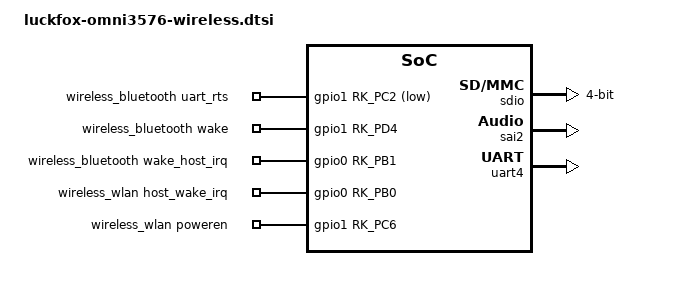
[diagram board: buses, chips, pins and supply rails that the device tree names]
// SPDX-License-Identifier: (GPL-2.0+ OR MIT)
/*
 * Copyright (c) 2024 Luckfox Technology Co., Ltd.
 *
 */
/ {
	wireless_bluetooth: wireless-bluetooth {
		compatible = "bluetooth-platdata";
		uart_rts_gpios = <&gpio1 RK_PC2 GPIO_ACTIVE_LOW>;
		pinctrl-names = "default", "rts_gpio";
		pinctrl-0 = <&uart4m1_rtsn>;
		pinctrl-1 = <&uart4_gpios>;
		BT,wake_gpio     = <&gpio1 RK_PD4 GPIO_ACTIVE_HIGH>;
		BT,wake_host_irq = <&gpio0 RK_PB1 GPIO_ACTIVE_HIGH>;
		status = "okay";
	};

	wireless_wlan: wireless-wlan {
		compatible = "wlan-platdata";
		pinctrl-names = "default";
		pinctrl-0 = <&wifi_host_wake_irq &wifi_poweren_gpio>;
		WIFI,host_wake_irq = <&gpio0 RK_PB0 GPIO_ACTIVE_HIGH>; // WIFI_WAKE_HOST_H
		WIFI,poweren_gpio = <&gpio1 RK_PC6 GPIO_ACTIVE_HIGH>;
		status = "okay";
	};

	bt_sco: bt-sco {
		status = "okay";
		compatible = "delta,dfbmcs320";
		#sound-dai-cells = <1>;
	};

	bt_sound: bt-sound {
		status = "okay";
		compatible = "simple-audio-card";
		simple-audio-card,format = "dsp_a";
		simple-audio-card,mclk-fs = <256>;
		simple-audio-card,name = "rockchip,bt";
		simple-audio-card,cpu {
			sound-dai = <&sai2>;
		};
		simple-audio-card,codec {
			sound-dai = <&bt_sco 1>;
		};
	};
};

&sdio {
	max-frequency = <200000000>;
	no-sd;
	no-mmc;
	bus-width = <4>;
	disable-wp;
	cap-sd-highspeed;
	cap-sdio-irq;
	keep-power-in-suspend;
	pinctrl-names = "default";
	pinctrl-0 = <&sdmmc1m0_bus4 &sdmmc1m0_clk &sdmmc1m0_cmd>;
	sd-uhs-sdr104;
	status = "okay";
};

&sai2 {
	status = "okay";
};

&uart4 {
	status = "okay";
	pinctrl-names = "default";
	pinctrl-0 = <&uart4m1_xfer &uart4m1_ctsn>;
};

&pinctrl {
	wireless-bluetooth {
		uart4_gpios: uart4-gpios {
			rockchip,pins = <1 RK_PC2 RK_FUNC_GPIO &pcfg_pull_none>;
		};
	};

	wireless-wlan {
		wifi_host_wake_irq: wifi-host-wake-irq {
			rockchip,pins = <0 RK_PB0 RK_FUNC_GPIO &pcfg_pull_down>;
		};

		wifi_poweren_gpio: wifi-poweren-gpio {
			rockchip,pins = <1 RK_PC6 RK_FUNC_GPIO &pcfg_pull_up>;
		};
	};
};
